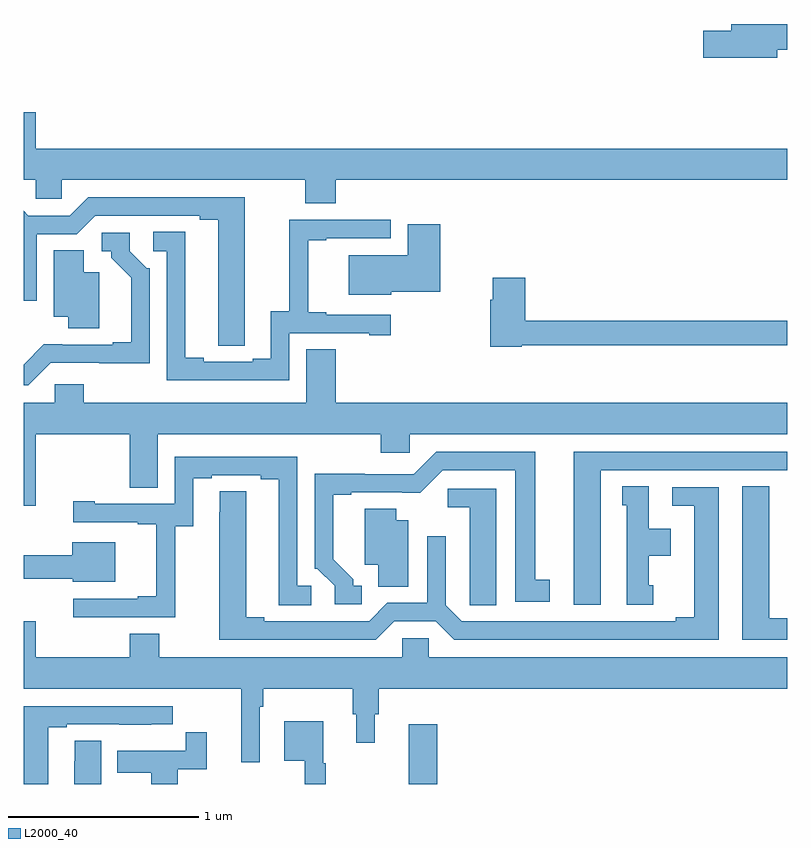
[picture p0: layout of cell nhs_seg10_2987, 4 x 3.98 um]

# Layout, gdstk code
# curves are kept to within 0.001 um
import gdstk
lib = gdstk.Library(unit=1e-6, precision=1e-09)
def R(c, l, rs):  # rectangles x0, y0, x1, y1
    for r in rs: c.add(gdstk.rectangle(r[:2], r[2:], *l))
def P(c, l, *ps):  # polygons
    for p in ps: c.add(gdstk.Polygon(p, *l))
L2000_40 = (2000, 40)

nhs_seg10_2987 = lib.new_cell('nhs_seg10_2987')
R(nhs_seg10_2987, L2000_40, [(275.018,1282.5,275.165,1282.813)])
P(nhs_seg10_2987, L2000_40, [(276.946,1286.344),(277,1286.344),(277,1286.48),(276.707,1286.48),(276.707,1286.444),(276.558,1286.444),(276.558,1286.302),(276.946,1286.302)],
  [(274.634,1285.664),(277,1285.664),(277,1285.828),(273.064,1285.828),(273.064,1286.017),(273,1286.017),(273,1285.664),(273.063,1285.664),(273.063,1285.566),(273.201,1285.566),(273.201,1285.664),(274.474,1285.664),(274.474,1285.54),(274.634,1285.54)],
  [(274.158,1284.904),(274.159,1285.572),(273.339,1285.572),(273.243,1285.476),(273.025,1285.476),(273,1285.501),(273,1285.032),(273.069,1285.032),(273.069,1285.38),(273.279,1285.38),(273.375,1285.476),(273.923,1285.476),(273.923,1285.456),(274.019,1285.456),(274.019,1284.796),(274.158,1284.796)],
  [(274.392,1284.861),(274.811,1284.861),(274.811,1284.849),(274.924,1284.849),(274.924,1284.957),(274.585,1284.957),(274.585,1284.97),(274.49,1284.97),(274.49,1285.347),(274.585,1285.347),(274.585,1285.359),(274.924,1285.359),(274.924,1285.455),(274.39,1285.455),(274.39,1284.977),(274.295,1284.977),(274.295,1284.726),(274.199,1284.726),(274.199,1284.711),(273.943,1284.711),(273.943,1284.731),(273.847,1284.731),(273.847,1285.391),(273.678,1285.391),(273.678,1285.29),(273.75,1285.29),(273.75,1284.615),(274.392,1284.615)],
  [(274.926,1285.079),(275.183,1285.079),(275.183,1285.432),(275.012,1285.432),(275.012,1285.27),(274.703,1285.27),(274.703,1285.061),(274.926,1285.061)],
  [(273.141,1284.705),(273.66,1284.704),(273.66,1285.2),(273.645,1285.2),(273.555,1285.29),(273.555,1285.386),(273.408,1285.386),(273.408,1285.29),(273.458,1285.29),(273.458,1285.255),(273.563,1285.15),(273.563,1284.814),(273.467,1284.814),(273.467,1284.801),(273.106,1284.802),(273,1284.696),(273,1284.588),(273.024,1284.588)],
  [(273.397,1285.18),(273.316,1285.18),(273.316,1285.295),(273.158,1285.295),(273.158,1284.947),(273.233,1284.947),(273.233,1284.886),(273.397,1284.886)],
  [(275.61,1284.798),(277,1284.798),(277,1284.926),(275.627,1284.926),(275.627,1285.15),(275.456,1285.15),(275.456,1285.037),(275.444,1285.037),(275.444,1284.79),(275.61,1284.79)],
  [(273.064,1284.332),(273.556,1284.332),(273.556,1284.052),(273.703,1284.052),(273.703,1284.332),(274.871,1284.332),(274.871,1284.234),(275.022,1284.234),(275.022,1284.332),(277,1284.332),(277,1284.496),(274.634,1284.496),(274.634,1284.776),(274.481,1284.776),(274.481,1284.496),(273.314,1284.496),(273.314,1284.594),(273.162,1284.594),(273.162,1284.496),(273,1284.496),(273,1283.958),(273.064,1283.958)],
  [(274.771,1283.538),(274.726,1283.538),(274.726,1283.573),(274.621,1283.678),(274.621,1284.015),(274.717,1284.015),(274.717,1284.027),(275.078,1284.026),(275.196,1284.144),(275.576,1284.144),(275.576,1283.454),(275.755,1283.454),(275.755,1283.57),(275.68,1283.57),(275.68,1284.24),(275.16,1284.24),(275.043,1284.123),(274.787,1284.123),(274.787,1284.125),(274.524,1284.125),(274.524,1283.628),(274.539,1283.628),(274.629,1283.538),(274.629,1283.442),(274.771,1283.442)],
  [(276.022,1284.144),(277,1284.144),(277,1284.24),(275.882,1284.24),(275.882,1283.439),(276.022,1283.439)],
  [(273.795,1283.851),(273.889,1283.851),(273.889,1284.102),(273.985,1284.102),(273.985,1284.117),(274.241,1284.117),(274.241,1284.097),(274.337,1284.097),(274.337,1283.437),(274.507,1283.437),(274.507,1283.538),(274.434,1283.538),(274.434,1284.213),(273.792,1284.213),(273.792,1283.967),(273.373,1283.967),(273.373,1283.98),(273.261,1283.98),(273.261,1283.871),(273.599,1283.871),(273.599,1283.859),(273.695,1283.859),(273.695,1283.482),(273.599,1283.482),(273.599,1283.469),(273.261,1283.469),(273.261,1283.373),(273.795,1283.373)],
  [(276.298,1283.541),(276.274,1283.541),(276.274,1283.696),(276.388,1283.696),(276.388,1283.836),(276.274,1283.836),(276.274,1284.059),(276.134,1284.059),(276.134,1283.961),(276.158,1283.961),(276.158,1283.439),(276.298,1283.439)],
  [(277,1283.367),(276.904,1283.367),(276.904,1284.059),(276.764,1284.059),(276.764,1283.256),(277,1283.256)],
  [(274.941,1283.352),(275.159,1283.352),(275.255,1283.256),(276.64,1283.256),(276.64,1284.054),(276.396,1284.054),(276.396,1283.958),(276.512,1283.958),(276.512,1283.372),(276.416,1283.372),(276.416,1283.352),(275.295,1283.352),(275.211,1283.436),(275.211,1283.797),(275.115,1283.797),(275.115,1283.448),(274.905,1283.448),(274.809,1283.352),(274.261,1283.352),(274.261,1283.372),(274.165,1283.372),(274.165,1284.032),(274.026,1284.032),(274.025,1283.256),(274.845,1283.256)],
  [(275.476,1284.045),(275.22,1284.045),(275.22,1283.948),(275.336,1283.948),(275.336,1283.545),(275.337,1283.545),(275.337,1283.437),(275.476,1283.437)],
  [(275.014,1283.881),(274.951,1283.881),(274.951,1283.942),(274.787,1283.942),(274.787,1283.648),(274.856,1283.648),(274.856,1283.533),(275.014,1283.533)],
  [(273.481,1283.767),(273.254,1283.767),(273.254,1283.698),(273,1283.698),(273,1283.576),(273.258,1283.576),(273.258,1283.558),(273.481,1283.558)],
  [(274.236,1282.904),(274.256,1282.904),(274.256,1283),(274.723,1283),(274.723,1282.866),(274.742,1282.866),(274.742,1282.716),(274.84,1282.716),(274.84,1282.866),(274.859,1282.866),(274.859,1283),(277,1283),(277,1283.164),(275.121,1283.164),(275.121,1283.262),(274.983,1283.262),(274.983,1283.164),(273.711,1283.164),(273.711,1283.288),(273.556,1283.288),(273.556,1283.164),(273.064,1283.164),(273.064,1283.353),(273,1283.353),(273,1283),(274.139,1283),(274.139,1282.614),(274.236,1282.614)],
  [(273.13,1282.797),(273.226,1282.797),(273.226,1282.812),(273.502,1282.812),(273.502,1282.811),(273.668,1282.811),(273.668,1282.812),(273.781,1282.812),(273.781,1282.908),(273,1282.908),(273,1282.5),(273.13,1282.5)],
  [(274.582,1282.608),(274.57,1282.608),(274.57,1282.828),(274.364,1282.828),(274.364,1282.622),(274.473,1282.622),(274.473,1282.5),(274.582,1282.5)],
  [(273.808,1282.578),(273.959,1282.578),(273.959,1282.771),(273.85,1282.771),(273.85,1282.674),(273.491,1282.674),(273.491,1282.558),(273.668,1282.558),(273.668,1282.5),(273.808,1282.5)],
  [(273.406,1282.727),(273.267,1282.727),(273.267,1282.619),(273.266,1282.619),(273.266,1282.5),(273.406,1282.5)])

lib.write_gds('nhs_seg10_2987.gds')
